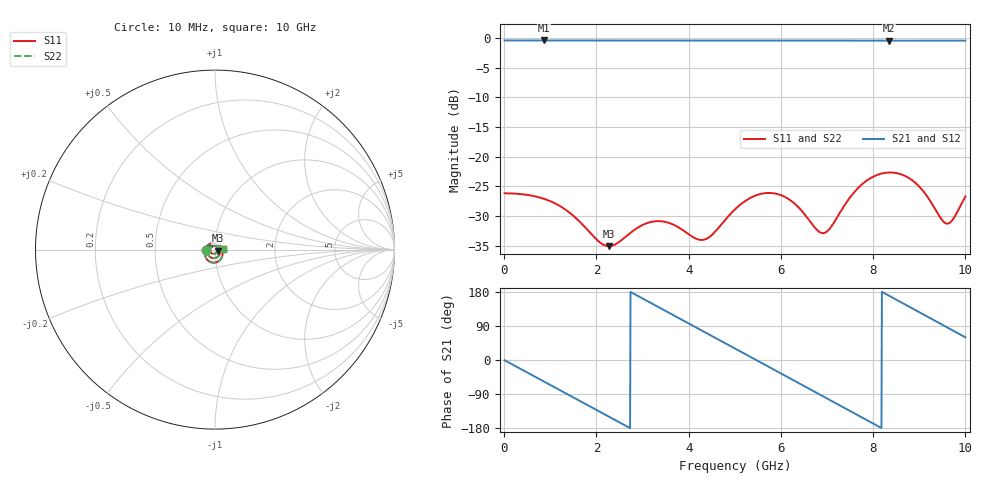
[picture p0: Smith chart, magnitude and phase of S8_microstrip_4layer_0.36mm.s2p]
! kicad_em_sim: S-parameters of 2 ports, openEMS
# Hz S RI R 50
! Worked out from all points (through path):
!   1000 points, 10 MHz to 10 GHz, reference 50 ohm
!   highest |S21| = -0.44 dB at 860 MHz (marker M1); lowest = -0.5 dB at 8.35 GHz (marker M2)
!   group delay of S21, straight-line fit = 183 ps
!   lowest |S11| = -35.1 dB at 2.27 GHz (marker M3), VSWR 1.04, Z = 51.7 - j0.546 ohm
!   |S11| at or under -10 dB: start of sweep to end of sweep
!   |S22| runs from -35.1 to -22.7 dB; largest |S21 - S12| = 1e-06
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1e7  -0.0492 0.000406  0.9505 -0.0109  0.9505 -0.0109  -0.0492 0.000406
4.2e8  -0.0452 0.0167  0.842 -0.4412  0.842 -0.4412  -0.0452 0.0167
8.6e8  -0.0317 0.0309  0.5229 -0.7939  0.5229 -0.7939  -0.0317 0.0309
1.27e9  -0.0116 0.0353  0.1055 -0.9447  0.1055 -0.9447  -0.0116 0.0353
1.68e9  0.00866 0.0259  -0.3349 -0.8893  -0.3349 -0.8893  0.00866 0.0259
2.27e9  0.0169 -0.00527  -0.8181 -0.4822  -0.8181 -0.4822  0.0169 -0.00527
2.8e9  -0.00396 -0.0235  -0.9464 0.0724  -0.9464 0.0724  -0.00396 -0.0235
3.34e9  -0.0267 -0.0105  -0.728 0.6092  -0.728 0.6092  -0.0267 -0.0105
3.76e9  -0.0232 0.0111  -0.3619 0.8779  -0.3619 0.8779  -0.0232 0.0111
4.16e9  -0.00137 0.0204  0.066 0.9474  0.066 0.9474  -0.00137 0.0204
4.56e9  0.0219 0.00718  0.4803 0.819  0.4803 0.819  0.0219 0.00718
5.01e9  0.0259 -0.0253  0.8223 0.4732  0.8223 0.4732  0.0259 -0.0253
5.78e9  -0.0249 -0.0428  0.886 -0.3373  0.886 -0.3373  -0.0249 -0.0428
6.26e9  -0.0405 -0.00873  0.5772 -0.7527  0.5772 -0.7527  -0.0405 -0.00873
6.67e9  -0.0195 0.019  0.1709 -0.9335  0.1709 -0.9335  -0.0195 0.019
6.99e9  0.0103 0.0209  -0.1781 -0.9322  -0.1781 -0.9322  0.0103 0.0209
7.62e9  0.0416 -0.0308  -0.7522 -0.5766  -0.7522 -0.5766  0.0416 -0.0308
8.34e9  -0.0176 -0.0715  -0.9316 0.1658  -0.9316 0.1658  -0.0176 -0.0715
8.35e9  -0.0187 -0.0712  -0.9296 0.1766  -0.9296 0.1766  -0.0187 -0.0712
9.23e9  -0.0414 0.011  -0.3399 0.8852  -0.3399 0.8852  -0.0414 0.011
9.61e9  0.00245 0.0272  0.0705 0.946  0.0705 0.946  0.00245 0.0272
1e10  0.0463 0.00094  0.477 0.8189  0.477 0.8189  0.0463 0.000939
